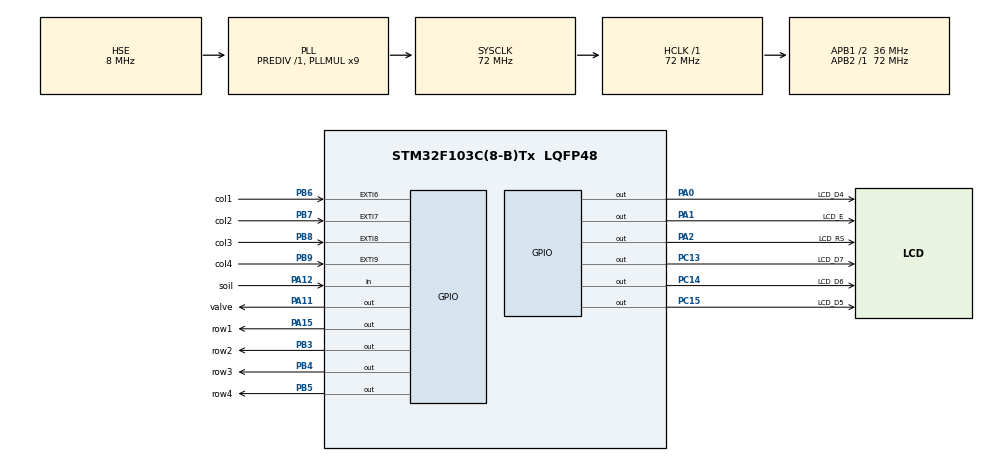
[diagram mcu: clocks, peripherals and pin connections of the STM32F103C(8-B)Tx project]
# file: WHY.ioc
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Mcu.Family=STM32F1
Mcu.Name=STM32F103C(8-B)Tx
Mcu.Package=LQFP48
NVIC.EXTI9_5_IRQn=true\:0\:0\:false\:false\:true\:true\:true
NVIC.PriorityGroup=NVIC_PRIORITYGROUP_4
NVIC.TIM2_IRQn=true\:0\:0\:false\:false\:true\:true\:true
PA0-WKUP.GPIO_Label=LCD_D4
PA0-WKUP.Signal=GPIO_Output
PA1.GPIO_Label=LCD_E
PA1.Signal=GPIO_Output
PA11.GPIO_Label=valve
PA11.Signal=GPIO_Output
PA12.GPIO_Label=soil
PA12.Signal=GPIO_Input
PA13.Mode=Serial_Wire
PA13.Signal=SYS_JTMS-SWDIO
PA14.Mode=Serial_Wire
PA14.Signal=SYS_JTCK-SWCLK
PA15.GPIO_Label=row1
PA15.Signal=GPIO_Output
PA2.GPIO_Label=LCD_RS
PA2.Signal=GPIO_Output
PB3.GPIO_Label=row2
PB3.Signal=GPIO_Output
PB4.GPIO_Label=row3
PB4.Signal=GPIO_Output
PB5.GPIO_Label=row4
PB5.Signal=GPIO_Output
PB6.GPIO_Label=col1
PB6.GPIO_ModeDefaultEXTI=GPIO_MODE_IT_FALLING
PB6.GPIO_PuPd=GPIO_PULLUP
PB6.Signal=GPXTI6
PB7.GPIO_Label=col2
PB7.GPIO_ModeDefaultEXTI=GPIO_MODE_IT_FALLING
PB7.GPIO_PuPd=GPIO_PULLUP
PB7.Signal=GPXTI7
PB8.GPIO_Label=col3
PB8.GPIO_ModeDefaultEXTI=GPIO_MODE_IT_FALLING
PB8.GPIO_PuPd=GPIO_PULLUP
PB8.Signal=GPXTI8
PB9.GPIO_Label=col4
PB9.GPIO_ModeDefaultEXTI=GPIO_MODE_IT_FALLING
PB9.GPIO_PuPd=GPIO_PULLUP
PB9.Signal=GPXTI9
PC13-TAMPER-RTC.GPIO_Label=LCD_D7
PC13-TAMPER-RTC.Signal=GPIO_Output
PC14-OSC32_IN.GPIO_Label=LCD_D6
PC14-OSC32_IN.Signal=GPIO_Output
PC15-OSC32_OUT.GPIO_Label=LCD_D5
PC15-OSC32_OUT.Signal=GPIO_Output
PD0-OSC_IN.Mode=HSE-External-Oscillator
PD0-OSC_IN.Signal=RCC_OSC_IN
PD1-OSC_OUT.Mode=HSE-External-Oscillator
PD1-OSC_OUT.Signal=RCC_OSC_OUT
ProjectManager.HeapSize=0x200
ProjectManager.StackSize=0x400
ProjectManager.TargetToolchain=MDK-ARM V5.27
RCC.AHBFreq_Value=72000000
RCC.APB1CLKDivider=RCC_HCLK_DIV2
RCC.APB1Freq_Value=36000000
RCC.APB1TimFreq_Value=72000000
RCC.APB2Freq_Value=72000000
RCC.APB2TimFreq_Value=72000000
RCC.HCLKFreq_Value=72000000
RCC.PLLMUL=RCC_PLL_MUL9
RCC.PLLSourceVirtual=RCC_PLLSOURCE_HSE
RCC.SYSCLKFreq_VALUE=72000000
RCC.SYSCLKSource=RCC_SYSCLKSOURCE_PLLCLK
RCC.USBFreq_Value=72000000
TIM2.Period=1999
TIM2.Prescaler=35999
VP_TIM2_VS_ClockSourceINT.Mode=Internal
board=custom

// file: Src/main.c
/* USER CODE BEGIN Header */
/**
  ******************************************************************************
  * @file           : main.c
  * @brief          : Main program body
  ******************************************************************************
  * @attention
  *
  * <h2><center>&copy; Copyright (c) 2020 STMicroelectronics.
  * All rights reserved.</center></h2>
  *
  * This software component is licensed by ST under BSD 3-Clause license,
  * the "License"; You may not use this file except in compliance with the
  * License. You may obtain a copy of the License at:
  *                        opensource.org/licenses/BSD-3-Clause
  *
  ******************************************************************************
  */
/* USER CODE END Header */

#include "main.h"
#include "tim.h"
#include "gpio.h"

/* USER CODE BEGIN Includes */
#include "lm016.h"
#include <stdio.h>
/* USER CODE END Includes */

/* USER CODE BEGIN PD */
int flag_interupt = 0;
int col = -1;
unsigned char keys[16] = {'1','2','3','A','4','5','6','B','7','8','9','C','*','0','#','D'};
unsigned char keypad_scan(void); //when interupts come,we will scan rows and reading cols to findout wich key is pressed.
void shift(int i); //shifting 0 in rows.
unsigned char key1; //character returned from keypad_scan
int t_open = 60; //default 1 min.
int Condition_flag=0; //this flag is used to avoid printing wet_menu in while loop.
int minutes;
int seconds;
int second1;
int second2;
int flag_timer = 0; //this flag is used to show that timer has enabled and valve is open.
char t_open2 = '1';
int flag_rained = 0; //this flag is used when soil is dry and without watering plant, soid has become wet because of rain. and used to avoid micro to waits only for user to press A.
/* USER CODE END PD */

void SystemClock_Config(void);

/* USER CODE BEGIN 0 */

	void Wet_Menue()
	{
		if(Condition_flag==0)
		{
			lcd_clear();
			lcd_puts("Moisture:Wet");
			lcd_set_cursor(2,1); //go to second line
			lcd_puts("Open Time :");
			if(flag_rained == 1) //if rain has come,we print to lcd thats it become wet because of rain not opening valve.
				lcd_puts("rain");
			else
				lcd_putchar(t_open2);
		}
		Condition_flag=1; //this variable is used to avoid printing so many times in while loop when we are in wet condition.
	}

	void Dry_Menue()
	{
			lcd_clear();
			lcd_puts("Moisture:Dry");
			lcd_set_cursor(2,1); //go to second line
			lcd_puts("Press A");
			do{
					if(HAL_GPIO_ReadPin(soil_GPIO_Port,soil_Pin) == 0) //if soil has become wet meanwhile its waiting for user to press A, we just exit loop to go to the wet menu.
					{
						Condition_flag=0;
						flag_rained = 1; //rain has come and valve will not be opened.
						return;
					}
					while(flag_interupt==0 && HAL_GPIO_ReadPin(soil_GPIO_Port,soil_Pin) == 1); //wait until interupt comes and soil is still dry.
					key1 = keypad_scan(); //find out which key is pressed
					flag_interupt=0; //to stuck in while loop until interupt come
			}while(key1!='A'); //user have to press only 'A'

			flag_rained = 0; //valve has opened.
			flag_interupt=0;
			lcd_clear();
			lcd_puts("Choose Time From");
			lcd_set_cursor(2,1);
			lcd_puts("{1,2,3} Min :");

			do{
					while(flag_interupt==0 ); //waiting for user to press a key
					flag_interupt=0;
					key1=keypad_scan(); //interupt has come and we can scan keypad.
					if(key1=='1')
					{
						t_open2 = '1';
						t_open = 60;
						break;
					}
					else if(key1=='2')  //if pressed key is 1 or 2 or 3 exits loop.else it will wait until these keys are pressed
					{
						t_open2 = '2';
						t_open = 120;
						break;
					}
					else if(key1=='3')
					{
						t_open2 = '3';
						t_open = 180;
						break;
					}
			}while(1);

			lcd_putchar(t_open2);
			HAL_Delay(2000); //just for showing what user has pressed.
			lcd_clear();
			HAL_GPIO_WritePin(valve_GPIO_Port,valve_Pin,GPIO_PIN_SET); //opening valve
			HAL_TIM_Base_Start_IT(&htim2);//starting timer count down.
			Condition_flag=0;
			flag_timer = 1; //timer is enable and we want to print remaining time of watering.
	}
/* USER CODE END 0 */

int main(void)
{

  /* MCU Configuration--------------------------------------------------------*/

  /* Reset of all peripherals, Initializes the Flash interface and the Systick. */
  HAL_Init();

  /* Configure the system clock */
  SystemClock_Config();

  /* Initialize all configured peripherals */
  MX_GPIO_Init();
  MX_TIM2_Init();
  /* USER CODE BEGIN 2 */

	lcd_init(); //initializing
	lcd_clear();
  /* USER CODE END 2 */

  /* Infinite loop */
  /* USER CODE BEGIN WHILE */
  while (1)
  {
		while(flag_timer == 1) //if timer is enable we calculate seconds and minute and show it in lcd.
		{
			char str[4];
			minutes = t_open / 60;
			seconds = t_open % 60;
			second1 = seconds / 10;
			second2 = seconds % 10;
			lcd_set_cursor(1,1);
			lcd_puts("Time remaining :");
			lcd_set_cursor(2,6);
			sprintf(str,"0%d:%d%d",minutes,second1,second2);
			lcd_puts(str);

		}
		if(HAL_GPIO_ReadPin(soil_GPIO_Port,soil_Pin) == 1 && flag_timer==0) //if soil is dry
		{
			Dry_Menue();
		}
		else if(HAL_GPIO_ReadPin(soil_GPIO_Port,soil_Pin) == 0 && flag_timer!=1)
		{
			Wet_Menue();
		}
    /* USER CODE END WHILE */

  }
}

void SystemClock_Config(void)
{
  RCC_OscInitTypeDef RCC_OscInitStruct = {0};
  RCC_ClkInitTypeDef RCC_ClkInitStruct = {0};

  /** Initializes the CPU, AHB and APB busses clocks
  */
  RCC_OscInitStruct.OscillatorType = RCC_OSCILLATORTYPE_HSE;
  RCC_OscInitStruct.HSEState = RCC_HSE_ON;
  RCC_OscInitStruct.HSEPredivValue = RCC_HSE_PREDIV_DIV1;
  RCC_OscInitStruct.HSIState = RCC_HSI_ON;
  RCC_OscInitStruct.PLL.PLLState = RCC_PLL_ON;
  RCC_OscInitStruct.PLL.PLLSource = RCC_PLLSOURCE_HSE;
  RCC_OscInitStruct.PLL.PLLMUL = RCC_PLL_MUL9;
  if (HAL_RCC_OscConfig(&RCC_OscInitStruct) != HAL_OK)
  {
    Error_Handler();
  }
  /** Initializes the CPU, AHB and APB busses clocks
  */
  RCC_ClkInitStruct.ClockType = RCC_CLOCKTYPE_HCLK|RCC_CLOCKTYPE_SYSCLK
                              |RCC_CLOCKTYPE_PCLK1|RCC_CLOCKTYPE_PCLK2;
  RCC_ClkInitStruct.SYSCLKSource = RCC_SYSCLKSOURCE_PLLCLK;
  RCC_ClkInitStruct.AHBCLKDivider = RCC_SYSCLK_DIV1;
  RCC_ClkInitStruct.APB1CLKDivider = RCC_HCLK_DIV2;
  RCC_ClkInitStruct.APB2CLKDivider = RCC_HCLK_DIV1;

  if (HAL_RCC_ClockConfig(&RCC_ClkInitStruct, FLASH_LATENCY_2) != HAL_OK)
  {
    Error_Handler();
  }
}

/* USER CODE BEGIN 4 */

unsigned char keypad_scan(void)
{
	int position; //position in keys array.

	for (int row = 0; row<4; row++)
	{
		shift(row); //shifting zero in rows.
		col = -1; //when col is -1 , no key is pressed.
		if(HAL_GPIO_ReadPin(col1_GPIO_Port,col1_Pin) == 0) //reading which column is pressed.
			col = 0;
		if(HAL_GPIO_ReadPin(col2_GPIO_Port,col2_Pin) == 0)
			col = 1;
		if(HAL_GPIO_ReadPin(col3_GPIO_Port,col3_Pin) == 0)
			col = 2;
		if(HAL_GPIO_ReadPin(col4_GPIO_Port,col4_Pin) == 0)
			col = 3;
		if(col != -1) //some key is pressed.
		{
			while(HAL_GPIO_ReadPin(col1_GPIO_Port,col1_Pin) ==0){};
			while(HAL_GPIO_ReadPin(col2_GPIO_Port,col2_Pin) ==0){}; //when user is holding a key,dont do multiple times.
			while(HAL_GPIO_ReadPin(col3_GPIO_Port,col3_Pin) ==0){};
			while(HAL_GPIO_ReadPin(col4_GPIO_Port,col4_Pin) ==0){};
			position = 4 * row + col; //finding index pressed key in array with variable row and col.
			col = -1;
			HAL_GPIO_WritePin(row1_GPIO_Port,row1_Pin,GPIO_PIN_RESET);
			HAL_GPIO_WritePin(row2_GPIO_Port,row2_Pin,GPIO_PIN_RESET); //reseting pins to initial values.
			HAL_GPIO_WritePin(row3_GPIO_Port,row3_Pin,GPIO_PIN_RESET);
			HAL_GPIO_WritePin(row4_GPIO_Port,row4_Pin,GPIO_PIN_RESET);
			return keys[position];
		}
		HAL_Delay(50); //for debouncing,we will add delay.
	}
			HAL_GPIO_WritePin(row1_GPIO_Port,row1_Pin,GPIO_PIN_RESET);
			HAL_GPIO_WritePin(row2_GPIO_Port,row2_Pin,GPIO_PIN_RESET);
			HAL_GPIO_WritePin(row3_GPIO_Port,row3_Pin,GPIO_PIN_RESET);
			HAL_GPIO_WritePin(row4_GPIO_Port,row4_Pin,GPIO_PIN_RESET);
	//return '0';
}

void shift(int i)
{
	unsigned char pins[4] = {0x7,0xB,0xD,0xE};
	HAL_GPIO_WritePin(row1_GPIO_Port,row1_Pin,(GPIO_PinState) (pins[i] & 0x8)); //if output of (pins[i] & 0x8) is anything excpet 0x00 it will cast to GPIO_PIN_SET
	HAL_GPIO_WritePin(row2_GPIO_Port,row2_Pin,(GPIO_PinState) (pins[i] & 0x4));
	HAL_GPIO_WritePin(row3_GPIO_Port,row3_Pin,(GPIO_PinState) (pins[i] & 0x2));
	HAL_GPIO_WritePin(row4_GPIO_Port,row4_Pin,(GPIO_PinState) (pins[i] & 0x1));
}

void HAL_GPIO_EXTI_Callback(uint16_t GPIO_Pin)
{
	flag_interupt= 1; //to find out that interupts is triggered because of pressing keys.
}

void HAL_TIM_PeriodElapsedCallback(TIM_HandleTypeDef *htim)
{
	if(htim->Instance ==  TIM2)
	{
		t_open--;
		if(t_open==0)
		{
				HAL_GPIO_WritePin(valve_GPIO_Port,valve_Pin,GPIO_PIN_RESET); //closing valve.
				flag_timer = 0; //show that timer is stopped.
				HAL_TIM_Base_Stop_IT(&htim2); //stop timer
		}
	}
}

/* USER CODE END 4 */

void Error_Handler(void)
{
}

/************************ (C) COPYRIGHT STMicroelectronics *****END OF FILE****/
